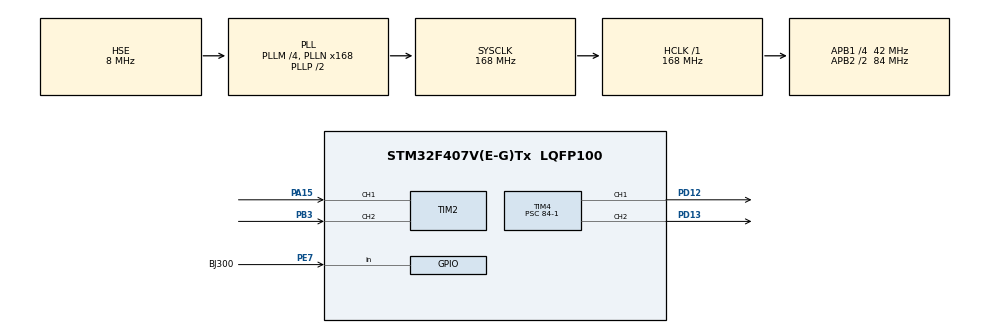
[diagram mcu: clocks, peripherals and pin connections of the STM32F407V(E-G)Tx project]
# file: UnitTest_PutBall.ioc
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FREERTOS.Tasks01=LogicTask,-3,128,StartLogicTask,Default,NULL,Dynamic,NULL,NULL;SensorTask,1,128,StartSensorTask,Default,NULL,Dynamic,NULL,NULL
FREERTOS.configUSE_NEWLIB_REENTRANT=1
Mcu.Family=STM32F4
Mcu.Name=STM32F407V(E-G)Tx
Mcu.Package=LQFP100
NVIC.PriorityGroup=NVIC_PRIORITYGROUP_4
NVIC.TIM2_IRQn=true\:5\:0\:false\:false\:true\:true\:true\:true\:true
NVIC.TIM8_TRG_COM_TIM14_IRQn=true\:15\:0\:false\:false\:true\:false\:false\:true\:true
NVIC.TimeBase=TIM8_TRG_COM_TIM14_IRQn
NVIC.TimeBaseIP=TIM14
PA13.Mode=Serial_Wire
PA13.Signal=SYS_JTMS-SWDIO
PA14.Mode=Serial_Wire
PA14.Signal=SYS_JTCK-SWCLK
PA15.Signal=S_TIM2_CH1_ETR
PB3.Signal=S_TIM2_CH2
PD12.Signal=S_TIM4_CH1
PD13.Signal=S_TIM4_CH2
PE7.GPIO_Label=BJ300
PE7.Signal=GPIO_Input
PH0-OSC_IN.Mode=HSE-External-Oscillator
PH0-OSC_IN.Signal=RCC_OSC_IN
PH1-OSC_OUT.Mode=HSE-External-Oscillator
PH1-OSC_OUT.Signal=RCC_OSC_OUT
ProjectManager.HeapSize=0x200
ProjectManager.StackSize=0x400
ProjectManager.TargetToolchain=STM32CubeIDE
RCC.48MHZClocksFreq_Value=84000000
RCC.AHBFreq_Value=168000000
RCC.APB1CLKDivider=RCC_HCLK_DIV4
RCC.APB1Freq_Value=42000000
RCC.APB1TimFreq_Value=84000000
RCC.APB2CLKDivider=RCC_HCLK_DIV2
RCC.APB2Freq_Value=84000000
RCC.APB2TimFreq_Value=168000000
RCC.CortexFreq_Value=168000000
RCC.HCLKFreq_Value=168000000
RCC.HSE_VALUE=8000000
RCC.HSI_VALUE=16000000
RCC.LSE_VALUE=32768
RCC.PLLM=4
RCC.PLLN=168
RCC.PLLSourceVirtual=RCC_PLLSOURCE_HSE
RCC.SYSCLKFreq_VALUE=168000000
RCC.SYSCLKSource=RCC_SYSCLKSOURCE_PLLCLK
RCC.VCOOutputFreq_Value=336000000
SH.S_TIM2_CH1_ETR.0=TIM2_CH1,Encoder_Interface
SH.S_TIM2_CH2.0=TIM2_CH2,Encoder_Interface
SH.S_TIM4_CH1.0=TIM4_CH1,PWM Generation1 CH1
SH.S_TIM4_CH2.0=TIM4_CH2,PWM Generation2 CH2
TIM2.EncoderMode=TIM_ENCODERMODE_TI12
TIM4.Channel-PWM\ Generation1\ CH1=TIM_CHANNEL_1
TIM4.Channel-PWM\ Generation2\ CH2=TIM_CHANNEL_2
TIM4.Period=1000-1
TIM4.Prescaler=84-1
VP_FREERTOS_VS_CMSIS_V1.Mode=CMSIS_V1
VP_SYS_VS_tim14.Mode=TIM14
VP_TIM4_VS_ClockSourceINT.Mode=Internal
board=custom

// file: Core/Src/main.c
/* USER CODE BEGIN Header */
/**
  ******************************************************************************
  * @file           : main.c
  * @brief          : Main program body
  ******************************************************************************
  * @attention
  *
  * Copyright (c) 2023 STMicroelectronics.
  * All rights reserved.
  *
  * This software is licensed under terms that can be found in the LICENSE file
  * in the root directory of this software component.
  * If no LICENSE file comes with this software, it is provided AS-IS.
  *
  ******************************************************************************
  */
/* USER CODE END Header */
#include "main.h"
#include "cmsis_os.h"

/* USER CODE BEGIN Includes */
#include "DriveMotor.h"
#include "Encoder.h"
#include "PID.h"
#include "stdbool.h"
/* USER CODE END Includes */

/* USER CODE BEGIN PM */
#define GearRatio 19.2
#define CPR 614

#define SpeedPropotional 0.0003
#define SpeedIntergral 20
#define SpeedDerivative 0
#define SpeedAlpha 0
#define PositionPropotional 1
#define DeltaT 0.001

#define NotBall 0
#define IsBall 1

#define Dropped 1
#define Pending 0

#define Ready 1

#define PutBall_AboveLimit -90000
#define PutBall_BelowLimit -1000
#define PutBall_DropBall -115000

#define RecognizeBallTime 2000
#define SetHomeManualTime 10000
#define DropBallTime 1000
#define ResetEncoderTime 1000

#define PutBall_UpperHighSpeed -400
#define PutBall_UpperLowSpeed -300
#define PutBall_LowerHighSpeed 400
#define PutBall_LowerLowSpeed 200
#define PutBall_StopSpeed 0

#define uI_AboveLimit 1000
#define uI_BelowLimit -1000
#define u_AboveLimit 1000
#define u_BelowLimit -1000
/* USER CODE END PM */

TIM_HandleTypeDef htim2;
TIM_HandleTypeDef htim4;

osThreadId LogicTaskHandle;
osThreadId SensorTaskHandle;
/* USER CODE BEGIN PV */
int16_t PWM;
float SpeedTest, PositionTest;
bool __setStart = 0;
bool PutBall = 0;
bool __NotBall = 0, __isBall = 0;
uint16_t cnt = 0;
MotorDrive DC;
EncoderRead ENC_DC;
PID_Param PID_DC_Speed;
PID_Param PID_DC_Pos;
/* USER CODE END PV */

void SystemClock_Config(void);
static void MX_GPIO_Init(void);
static void MX_TIM4_Init(void);
static void MX_TIM2_Init(void);
void StartLogicTask(void const * argument);
void StartSensorTask(void const * argument);

/* USER CODE BEGIN 0 */
//void PID_Speed()
//{
//	SpeedReadNonReset(&ENC_DC);
//	Pid_Cal(&PID_DC_Speed, SpeedTest, ENC_DC.vel_Real);
//	DC_Drive_BTS(&DC, &htim4, 1000, PID_DC_Speed.u, TIM_CHANNEL_1, TIM_CHANNEL_2);
//}
//
//void PID_Pos()
//{
//	CountRead(&ENC_DC, count_ModeDegree);
//	Pid_Cal(&PID_DC_Pos, PositionTest, CountRead(&ENC_DC, count_ModeDegree));
//	SpeedTest = PID_DC_Pos.u;
//	PID_Speed();
//}

void SetupStartPos()
{
	DC_Drive_BTS(&DC, &htim4, motor_Reserve, PutBall_LowerLowSpeed, TIM_CHANNEL_1, TIM_CHANNEL_2);
	osDelay(SetHomeManualTime);
	DC_Drive_BTS(&DC, &htim4, motor_Reserve, PutBall_StopSpeed, TIM_CHANNEL_1, TIM_CHANNEL_2);
	ResetCount(&ENC_DC, 1);
	__setStart = Ready;
}

void PutBallTask()
{
		  CountRead(&ENC_DC, count_ModeX1);
		  if(!PutBall)
		  {
			  if(__isBall)
			  {
				  if(!__NotBall)
				  {
					  PWM = PutBall_UpperHighSpeed;
					  if(CountRead(&ENC_DC, count_ModeX1) < PutBall_AboveLimit)
					  {
						  PWM = PutBall_UpperLowSpeed;
					  }
					  if(CountRead(&ENC_DC, count_ModeX1)  < PutBall_DropBall)
					  {
						  PWM = PutBall_StopSpeed;
						  PutBall = Dropped;
						  osDelay(DropBallTime);
					  }
				  }
				  else
				  {
					  PWM = PutBall_LowerLowSpeed;
					  if(CountRead(&ENC_DC, count_ModeX1) > PutBall_BelowLimit)
					  {
					  		 PutBall = PutBall_StopSpeed;
					   	     __isBall = NotBall;
					   		 osDelay(10);
					   		 cnt = 0;
					   		 osDelay(ResetEncoderTime);
					   		 ResetCount(&ENC_DC, 1);
					   		 osDelay(10);
					   		 PWM = PutBall_StopSpeed;
					  }
				  }
			  }
		  }
		  else
		  {
			  if(PutBall)
			  {
			  	  PWM = PutBall_LowerLowSpeed;
			  	 if(CountRead(&ENC_DC, count_ModeX1) > PutBall_BelowLimit)
			  	 {
			  		 PutBall = Pending;
			  	     __isBall = NotBall;
			  		 osDelay(10);
			  		 cnt = 0;
			  		 osDelay(ResetEncoderTime);
			  		 ResetCount(&ENC_DC, 1);
			  		 osDelay(10);
			  		 PWM = PutBall_StopSpeed;
			  	 }
			  }
		  }
		  DC_Drive_BTS(&DC, &htim4, motor_Reserve, PWM, TIM_CHANNEL_1, TIM_CHANNEL_2);
}
/* USER CODE END 0 */

int main(void)
{

  /* MCU Configuration--------------------------------------------------------*/

  /* Reset of all peripherals, Initializes the Flash interface and the Systick. */
  HAL_Init();

  /* Configure the system clock */
  SystemClock_Config();

  /* Initialize all configured peripherals */
  MX_GPIO_Init();
  MX_TIM4_Init();
  MX_TIM2_Init();
  /* USER CODE BEGIN 2 */
  HAL_TIM_PWM_Start(&htim4, TIM_CHANNEL_1);
  HAL_TIM_PWM_Start(&htim4, TIM_CHANNEL_2);

  HAL_TIM_Encoder_Start_IT(&htim2, TIM_CHANNEL_ALL);
  EncoderSetting(&ENC_DC, &htim2, 11788, DeltaT);

//  Pid_SetParam(&PID_DC_Speed, SpeedPropotional, SpeedIntergral, SpeedDerivative, SpeedAlpha, DeltaT, uI_AboveLimit, uI_BelowLimit, u_AboveLimit, u_BelowLimit);
//  Pid_SetParam(&PID_DC_Pos, PositionPropotional, 0, 0, 0, DeltaT, uI_AboveLimit, uI_BelowLimit, u_AboveLimit, u_BelowLimit);

  /* USER CODE END 2 */

  /* Create the thread(s) */
  /* definition and creation of LogicTask */
  osThreadDef(LogicTask, StartLogicTask, osPriorityIdle, 0, 128);
  LogicTaskHandle = osThreadCreate(osThread(LogicTask), NULL);

  /* definition and creation of SensorTask */
  osThreadDef(SensorTask, StartSensorTask, osPriorityAboveNormal, 0, 128);
  SensorTaskHandle = osThreadCreate(osThread(SensorTask), NULL);

  /* Start scheduler */
  osKernelStart();

  /* We should never get here as control is now taken by the scheduler */
  /* Infinite loop */
  while (1)
  {

    /* USER CODE BEGIN 3 */
//	  DC_Drive_BTS(&DC, &htim4, 0, PWM, TIM_CHANNEL_1, TIM_CHANNEL_2);
//	  PID_Speed();
//	  PID_Pos();
//	  HAL_Delay(1);
//	  CountRead(&ENC_DC, count_ModeX1);
  }
  /* USER CODE END 3 */
}

void SystemClock_Config(void)
{
  RCC_OscInitTypeDef RCC_OscInitStruct = {0};
  RCC_ClkInitTypeDef RCC_ClkInitStruct = {0};

  /** Configure the main internal regulator output voltage
  */
  __HAL_RCC_PWR_CLK_ENABLE();
  __HAL_PWR_VOLTAGESCALING_CONFIG(PWR_REGULATOR_VOLTAGE_SCALE1);

  /** Initializes the RCC Oscillators according to the specified parameters
  * in the RCC_OscInitTypeDef structure.
  */
  RCC_OscInitStruct.OscillatorType = RCC_OSCILLATORTYPE_HSE;
  RCC_OscInitStruct.HSEState = RCC_HSE_ON;
  RCC_OscInitStruct.PLL.PLLState = RCC_PLL_ON;
  RCC_OscInitStruct.PLL.PLLSource = RCC_PLLSOURCE_HSE;
  RCC_OscInitStruct.PLL.PLLM = 4;
  RCC_OscInitStruct.PLL.PLLN = 168;
  RCC_OscInitStruct.PLL.PLLP = RCC_PLLP_DIV2;
  RCC_OscInitStruct.PLL.PLLQ = 4;
  if (HAL_RCC_OscConfig(&RCC_OscInitStruct) != HAL_OK)
  {
    Error_Handler();
  }

  /** Initializes the CPU, AHB and APB buses clocks
  */
  RCC_ClkInitStruct.ClockType = RCC_CLOCKTYPE_HCLK|RCC_CLOCKTYPE_SYSCLK
                              |RCC_CLOCKTYPE_PCLK1|RCC_CLOCKTYPE_PCLK2;
  RCC_ClkInitStruct.SYSCLKSource = RCC_SYSCLKSOURCE_PLLCLK;
  RCC_ClkInitStruct.AHBCLKDivider = RCC_SYSCLK_DIV1;
  RCC_ClkInitStruct.APB1CLKDivider = RCC_HCLK_DIV4;
  RCC_ClkInitStruct.APB2CLKDivider = RCC_HCLK_DIV2;

  if (HAL_RCC_ClockConfig(&RCC_ClkInitStruct, FLASH_LATENCY_5) != HAL_OK)
  {
    Error_Handler();
  }
}

static void MX_TIM2_Init(void)
{

  TIM_Encoder_InitTypeDef sConfig = {0};
  TIM_MasterConfigTypeDef sMasterConfig = {0};

  htim2.Instance = TIM2;
  htim2.Init.Prescaler = 0;
  htim2.Init.CounterMode = TIM_COUNTERMODE_UP;
  htim2.Init.Period = 4294967295;
  htim2.Init.ClockDivision = TIM_CLOCKDIVISION_DIV1;
  htim2.Init.AutoReloadPreload = TIM_AUTORELOAD_PRELOAD_DISABLE;
  sConfig.EncoderMode = TIM_ENCODERMODE_TI12;
  sConfig.IC1Polarity = TIM_ICPOLARITY_RISING;
  sConfig.IC1Selection = TIM_ICSELECTION_DIRECTTI;
  sConfig.IC1Prescaler = TIM_ICPSC_DIV1;
  sConfig.IC1Filter = 0;
  sConfig.IC2Polarity = TIM_ICPOLARITY_RISING;
  sConfig.IC2Selection = TIM_ICSELECTION_DIRECTTI;
  sConfig.IC2Prescaler = TIM_ICPSC_DIV1;
  sConfig.IC2Filter = 0;
  if (HAL_TIM_Encoder_Init(&htim2, &sConfig) != HAL_OK)
  {
    Error_Handler();
  }
  sMasterConfig.MasterOutputTrigger = TIM_TRGO_RESET;
  sMasterConfig.MasterSlaveMode = TIM_MASTERSLAVEMODE_DISABLE;
  if (HAL_TIMEx_MasterConfigSynchronization(&htim2, &sMasterConfig) != HAL_OK)
  {
    Error_Handler();
  }

}

static void MX_TIM4_Init(void)
{

  TIM_ClockConfigTypeDef sClockSourceConfig = {0};
  TIM_MasterConfigTypeDef sMasterConfig = {0};
  TIM_OC_InitTypeDef sConfigOC = {0};

  htim4.Instance = TIM4;
  htim4.Init.Prescaler = 84-1;
  htim4.Init.CounterMode = TIM_COUNTERMODE_UP;
  htim4.Init.Period = 1000-1;
  htim4.Init.ClockDivision = TIM_CLOCKDIVISION_DIV1;
  htim4.Init.AutoReloadPreload = TIM_AUTORELOAD_PRELOAD_DISABLE;
  if (HAL_TIM_Base_Init(&htim4) != HAL_OK)
  {
    Error_Handler();
  }
  sClockSourceConfig.ClockSource = TIM_CLOCKSOURCE_INTERNAL;
  if (HAL_TIM_ConfigClockSource(&htim4, &sClockSourceConfig) != HAL_OK)
  {
    Error_Handler();
  }
  if (HAL_TIM_PWM_Init(&htim4) != HAL_OK)
  {
    Error_Handler();
  }
  sMasterConfig.MasterOutputTrigger = TIM_TRGO_RESET;
  sMasterConfig.MasterSlaveMode = TIM_MASTERSLAVEMODE_DISABLE;
  if (HAL_TIMEx_MasterConfigSynchronization(&htim4, &sMasterConfig) != HAL_OK)
  {
    Error_Handler();
  }
  sConfigOC.OCMode = TIM_OCMODE_PWM1;
  sConfigOC.Pulse = 0;
  sConfigOC.OCPolarity = TIM_OCPOLARITY_HIGH;
  sConfigOC.OCFastMode = TIM_OCFAST_DISABLE;
  if (HAL_TIM_PWM_ConfigChannel(&htim4, &sConfigOC, TIM_CHANNEL_1) != HAL_OK)
  {
    Error_Handler();
  }
  if (HAL_TIM_PWM_ConfigChannel(&htim4, &sConfigOC, TIM_CHANNEL_2) != HAL_OK)
  {
    Error_Handler();
  }
  HAL_TIM_MspPostInit(&htim4);

}

static void MX_GPIO_Init(void)
{
  GPIO_InitTypeDef GPIO_InitStruct = {0};

  /* GPIO Ports Clock Enable */
  __HAL_RCC_GPIOH_CLK_ENABLE();
  __HAL_RCC_GPIOE_CLK_ENABLE();
  __HAL_RCC_GPIOD_CLK_ENABLE();
  __HAL_RCC_GPIOA_CLK_ENABLE();
  __HAL_RCC_GPIOB_CLK_ENABLE();

  /*Configure GPIO pin : BJ300_Pin */
  GPIO_InitStruct.Pin = BJ300_Pin;
  GPIO_InitStruct.Mode = GPIO_MODE_INPUT;
  GPIO_InitStruct.Pull = GPIO_NOPULL;
  HAL_GPIO_Init(BJ300_GPIO_Port, &GPIO_InitStruct);

}

void StartLogicTask(void const * argument)
{
  /* USER CODE BEGIN 5 */
  /* Infinite loop */
  for(;;)
  {
	if(!__setStart)
	{
		SetupStartPos();
	}
	if(__isBall)
	{
		PutBallTask();
	}
    osDelay(1);
  }
  /* USER CODE END 5 */
}

void StartSensorTask(void const * argument)
{
  /* USER CODE BEGIN StartSensorTask */
  /* Infinite loop */
  for(;;)
  {
	 __NotBall = HAL_GPIO_ReadPin(BJ300_GPIO_Port, BJ300_Pin);
	 if(!__NotBall)
	 {
		 if(cnt < RecognizeBallTime)
		 {
			 cnt++;
		 }
		 if(cnt == RecognizeBallTime)
		 {
			 __isBall = IsBall;
		 }
	 }
    osDelay(1);
  }
  /* USER CODE END StartSensorTask */
}

void HAL_TIM_PeriodElapsedCallback(TIM_HandleTypeDef *htim)
{
  if (htim->Instance == TIM14) {
    HAL_IncTick();
  }
}

void Error_Handler(void)
{
  __disable_irq();
  while (1)
  {
  }
}
